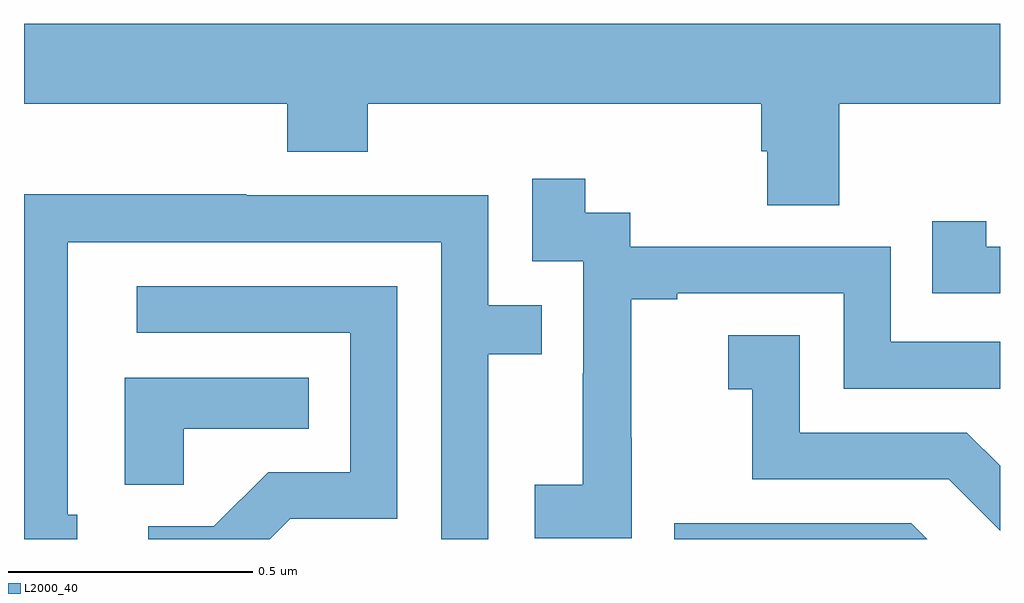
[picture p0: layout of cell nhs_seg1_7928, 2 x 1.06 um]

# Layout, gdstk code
import gdstk
lib = gdstk.Library(unit=1e-6, precision=1e-09)
def P(c, l, *ps):  # polygons
    for p in ps: c.add(gdstk.Polygon(p, *l))
L2000_40 = (2000, 40)

nhs_seg1_7928 = lib.new_cell('nhs_seg1_7928')
P(nhs_seg1_7928, L2000_40, [(211.671,525.092),(212,525.092),(212,525.256),(210,525.256),(210,525.092),(210.539,525.092),(210.539,524.993),(210.704,524.993),(210.704,525.092),(211.511,525.092),(211.511,524.994),(211.523,524.994),(211.523,524.884),(211.671,524.884)],
  [(211.245,524.407),(211.244,524.407),(211.244,524.691),(211.339,524.691),(211.339,524.703),(211.68,524.703),(211.68,524.508),(212,524.508),(212,524.604),(211.776,524.604),(211.776,524.799),(211.242,524.799),(211.242,524.868),(211.15,524.868),(211.15,524.938),(211.041,524.938),(211.041,524.769),(211.146,524.769),(211.146,524.54),(211.145,524.54),(211.145,524.311),(211.047,524.311),(211.047,524.201),(211.245,524.201)],
  [(210.109,524.25),(210.09,524.25),(210.09,524.808),(210.855,524.808),(210.855,524.199),(210.951,524.199),(210.951,524.578),(211.061,524.578),(211.061,524.679),(210.951,524.679),(210.951,524.904),(210.455,524.904),(210.455,524.906),(210,524.906),(210,524.199),(210.109,524.199)],
  [(212,524.799),(211.972,524.799),(211.972,524.851),(211.861,524.851),(211.861,524.703),(212,524.703)],
  [(210.546,524.241),(210.765,524.241),(210.765,524.718),(210.231,524.718),(210.231,524.622),(210.669,524.622),(210.669,524.337),(210.5,524.337),(210.389,524.226),(210.255,524.226),(210.255,524.199),(210.504,524.199)],
  [(212,524.35),(211.932,524.418),(211.59,524.418),(211.59,524.617),(211.443,524.617),(211.443,524.507),(211.492,524.507),(211.492,524.322),(211.895,524.322),(212,524.217)],
  [(210.327,524.426),(210.584,524.426),(210.584,524.53),(210.206,524.53),(210.206,524.311),(210.327,524.311)],
  [(211.818,524.232),(211.332,524.232),(211.332,524.199),(211.851,524.199)])

lib.write_gds('nhs_seg1_7928.gds')
